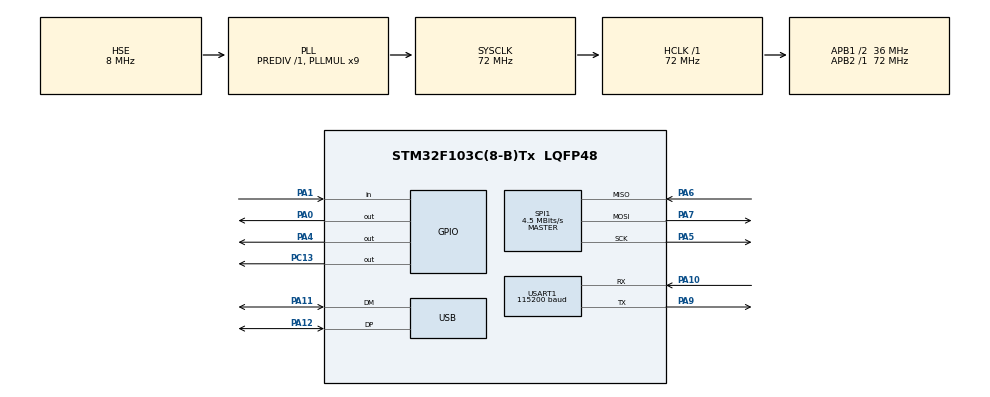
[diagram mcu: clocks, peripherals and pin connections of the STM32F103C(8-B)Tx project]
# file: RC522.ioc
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Mcu.Family=STM32F1
Mcu.Name=STM32F103C(8-B)Tx
Mcu.Package=LQFP48
NVIC.PriorityGroup=NVIC_PRIORITYGROUP_4
NVIC.USART1_IRQn=true\:0\:0\:false\:false\:true
NVIC.USB_LP_CAN1_RX0_IRQn=true\:0\:0\:false\:false\:true
PA0-WKUP.Signal=GPIO_Output
PA1.GPIO_PuPd=GPIO_PULLUP
PA1.Signal=GPIO_Input
PA10.Mode=Asynchronous
PA10.Signal=USART1_RX
PA11.Mode=Device
PA11.Signal=USB_DM
PA12.Mode=Device
PA12.Signal=USB_DP
PA13.Mode=Serial_Wire
PA13.Signal=SYS_JTMS-SWDIO
PA14.Mode=Serial_Wire
PA14.Signal=SYS_JTCK-SWCLK
PA4.Signal=GPIO_Output
PA5.Mode=Full_Duplex_Master
PA5.Signal=SPI1_SCK
PA6.Mode=Full_Duplex_Master
PA6.Signal=SPI1_MISO
PA7.Mode=Full_Duplex_Master
PA7.Signal=SPI1_MOSI
PA9.Mode=Asynchronous
PA9.Signal=USART1_TX
PC13-TAMPER-RTC.Signal=GPIO_Output
PD0-OSC_IN.Mode=HSE-External-Oscillator
PD0-OSC_IN.Signal=RCC_OSC_IN
PD1-OSC_OUT.Mode=HSE-External-Oscillator
PD1-OSC_OUT.Signal=RCC_OSC_OUT
ProjectManager.HeapSize=0x200
ProjectManager.StackSize=0x400
ProjectManager.TargetToolchain=MDK-ARM V5
RCC.AHBFreq_Value=72000000
RCC.APB1CLKDivider=RCC_HCLK_DIV2
RCC.APB1Freq_Value=36000000
RCC.APB1TimFreq_Value=72000000
RCC.APB2Freq_Value=72000000
RCC.APB2TimFreq_Value=72000000
RCC.HCLKFreq_Value=72000000
RCC.HSIState=RCC_HSI_ON
RCC.PLLMUL=RCC_PLL_MUL9
RCC.PLLSourceVirtual=RCC_PLLSOURCE_HSE
RCC.SYSCLKFreq_VALUE=72000000
RCC.SYSCLKSource=RCC_SYSCLKSOURCE_PLLCLK
RCC.USBFreq_Value=48000000
RCC.USBPrescaler=RCC_USBCLKSOURCE_PLL_DIV1_5
SPI1.BaudRatePrescaler=SPI_BAUDRATEPRESCALER_16
SPI1.CalculateBaudRate=4.5 MBits/s
SPI1.Mode=SPI_MODE_MASTER
USART1.BaudRate=115200
USB_DEVICE.CLASS_NAME_FS=CDC
USB_DEVICE.USBD_HandleTypeDef=hUsbDeviceFS
USB_DEVICE.VirtualMode=Cdc
USB_DEVICE.VirtualModeFS=Cdc_FS
VP_USB_DEVICE_VS_USB_DEVICE_CDC_FS.Mode=CDC_FS
board=RC522

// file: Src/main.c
/**
  ******************************************************************************
  * File Name          : main.c
  * Description        : Main program body
  ******************************************************************************
  *
  * COPYRIGHT(c) 2017 STMicroelectronics
  *
  * Redistribution and use in source and binary forms, with or without modification,
  * are permitted provided that the following conditions are met:
  *   1. Redistributions of source code must retain the above copyright notice,
  *      this list of conditions and the following disclaimer.
  *   2. Redistributions in binary form must reproduce the above copyright notice,
  *      this list of conditions and the following disclaimer in the documentation
  *      and/or other materials provided with the distribution.
  *   3. Neither the name of STMicroelectronics nor the names of its contributors
  *      may be used to endorse or promote products derived from this software
  *      without specific prior written permission.
  *
  * THIS SOFTWARE IS PROVIDED BY THE COPYRIGHT HOLDERS AND CONTRIBUTORS "AS IS"
  * AND ANY EXPRESS OR IMPLIED WARRANTIES, INCLUDING, BUT NOT LIMITED TO, THE
  * IMPLIED WARRANTIES OF MERCHANTABILITY AND FITNESS FOR A PARTICULAR PURPOSE ARE
  * DISCLAIMED. IN NO EVENT SHALL THE COPYRIGHT HOLDER OR CONTRIBUTORS BE LIABLE
  * FOR ANY DIRECT, INDIRECT, INCIDENTAL, SPECIAL, EXEMPLARY, OR CONSEQUENTIAL
  * DAMAGES (INCLUDING, BUT NOT LIMITED TO, PROCUREMENT OF SUBSTITUTE GOODS OR
  * SERVICES; LOSS OF USE, DATA, OR PROFITS; OR BUSINESS INTERRUPTION) HOWEVER
  * CAUSED AND ON ANY THEORY OF LIABILITY, WHETHER IN CONTRACT, STRICT LIABILITY,
  * OR TORT (INCLUDING NEGLIGENCE OR OTHERWISE) ARISING IN ANY WAY OUT OF THE USE
  * OF THIS SOFTWARE, EVEN IF ADVISED OF THE POSSIBILITY OF SUCH DAMAGE.
  *
  ******************************************************************************
  */
#include "stm32f1xx_hal.h"
#include "usb_device.h"

/* USER CODE BEGIN Includes */
#include "rc522.h"
/* USER CODE END Includes */

SPI_HandleTypeDef hspi1;

UART_HandleTypeDef huart1;

/* USER CODE BEGIN PV */
/* Private variables ---------------------------------------------------------*/
// Mifare RC522 RFID Card reader 13.56 MHz
// STM32F103 RFID RC522 SPI1 / UART / USB / Keil HAL / 2017 vk.com/zz555

// PA0  - (OUT)	LED2
// PA1	- (IN)	BTN1
// PA4  - (OUT)	SPI1_NSS (Soft)
// PA5  - (OUT)	SPI1_SCK
// PA6  - (IN)	SPI1_MISO (Master In)
// PA7  - (OUT)	SPI1_MOSI (Master Out)
// PA9	- (OUT)	TX UART1 (RX-RS232)
// PA10	- (IN)	RX UART1 (TX-RS232)
// PA11 - (OUT) USB_DM
// PA12 - (OUT) USB_DP
// PA13 - (IN) 	SWDIO
// PA14 - (IN) 	SWDCLK
// PC13 - (OUT)	LED1

// MFRC522		STM32F103		DESCRIPTION
// CS (SDA)		PA4					SPI1_NSS	Chip select for SPI
// SCK				PA5					SPI1_SCK	Serial Clock for SPI
// MOSI				PA7 				SPI1_MOSI	Master In Slave Out for SPI
// MISO				PA6					SPI1_MISO	Master Out Slave In for SPI
// IRQ				-						Irq
// GND				GND					Ground
// RST				3.3V				Reset pin (3.3V)
// VCC				3.3V				3.3V power

uint8_t 	k;
uint8_t 	i;
uint8_t 	j;
uint8_t 	b;
uint8_t 	q;
uint8_t 	en;
uint8_t 	ok;
uint8_t 	comand;
uint8_t		text1[63] = "STM32F103 Mifare RC522 RFID Card reader 13.56 MHz for KEIL HAL\r";
uint8_t		text2[9] = "Card ID: ";
uint8_t		end[1] = "\r";
uint8_t		txBuffer[18] = "Card ID: 00000000\r";
uint8_t 	retstr[10];
uint8_t 	rxBuffer[8];
uint8_t		lastID[4];
uint8_t		memID[8] = "9C55A1B5";
uint8_t		str[MFRC522_MAX_LEN];																						// MFRC522_MAX_LEN = 16
//uint32_t 	num;
//uint8_t*	txNum = (unsigned char*)&num;
/* USER CODE END PV */

void SystemClock_Config(void);
void Error_Handler(void);
static void MX_GPIO_Init(void);
static void MX_SPI1_Init(void);
static void MX_USART1_UART_Init(void);

/* USER CODE BEGIN PFP */
/* Private function prototypes -----------------------------------------------*/
uint8_t CDC_Transmit_FS(uint8_t* Buf, uint16_t Len);

// RC522
uint8_t MFRC522_Check(uint8_t* id);
uint8_t MFRC522_Compare(uint8_t* CardID, uint8_t* CompareID);
void MFRC522_WriteRegister(uint8_t addr, uint8_t val);
uint8_t MFRC522_ReadRegister(uint8_t addr);
void MFRC522_SetBitMask(uint8_t reg, uint8_t mask);
void MFRC522_ClearBitMask(uint8_t reg, uint8_t mask);
uint8_t MFRC522_Request(uint8_t reqMode, uint8_t* TagType);
uint8_t MFRC522_ToCard(uint8_t command, uint8_t* sendData, uint8_t sendLen, uint8_t* backData, uint16_t* backLen);
uint8_t MFRC522_Anticoll(uint8_t* serNum);
void MFRC522_CalulateCRC(uint8_t* pIndata, uint8_t len, uint8_t* pOutData);
uint8_t MFRC522_SelectTag(uint8_t* serNum);
uint8_t MFRC522_Auth(uint8_t authMode, uint8_t BlockAddr, uint8_t* Sectorkey, uint8_t* serNum);
uint8_t MFRC522_Read(uint8_t blockAddr, uint8_t* recvData);
uint8_t MFRC522_Write(uint8_t blockAddr, uint8_t* writeData);
void MFRC522_Init(void);
void MFRC522_Reset(void);
void MFRC522_AntennaOn(void);
void MFRC522_AntennaOff(void);
void MFRC522_Halt(void);
/* USER CODE END PFP */

/* USER CODE BEGIN 0 */
// string hex to char number
uint8_t hex_to_char(uint8_t data) {
	uint8_t number;

	if (rxBuffer[data] < 58) number = (rxBuffer[data]-48)*16; else number = (rxBuffer[data]-55)*16;
	data++;
	if (rxBuffer[data] < 58) number = number+(rxBuffer[data]-48); else number = number+(rxBuffer[data]-55);
	return number;
}

// char number to string hex (FF) (Only big letters!)
void char_to_hex(uint8_t data) {
	uint8_t digits[] = {'0','1','2','3','4','5','6','7','8','9','A','B','C','D','E','F'};

	if (data < 16) {
		retstr[0] = '0';
		retstr[1] = digits[data];
	} else {
		retstr[0] = digits[(data & 0xF0)>>4];
		retstr[1] = digits[(data & 0x0F)];
	}
}

// Number to string (16 bit)
void StrTo() {
	uint32_t	number;
	uint32_t 	ret;

	number = 0;
	ret = 0;
	ret = retstr[0]-0x30;
	number = ret*1000000;
	ret = retstr[1]-0x30;
	number = number+ret*100000;
	ret = retstr[2]-0x30;
	number = number+ret*10000;
	ret = retstr[3]-0x30;
	number = number+ret*1000;
	ret = retstr[4]-0x30;
	number = number+ret*100;
	ret = retstr[5]-0x30;
	number = number+ret*10;
	ret = retstr[6]-0x30;
	number = number+ret;
}

// String to number (32 bit)
void ToStr(uint32_t number) {
	uint32_t i;

	i = number/1000000000;
	number = number-i*1000000000;
	retstr[0] = i+0x30;

	i=number/100000000;
	number=number-i*100000000;
	retstr[1] = i+0x30;

	i = number/10000000;
	number = number-i*10000000;
	retstr[2] = i+0x30;

	i = number/1000000;
	number = number-i*1000000;
	retstr[3] = i+0x30;

	i = number/100000;
	number = number-i*100000;
	retstr[4] = i+0x30;

	i = number/10000;
	number = number-i*10000;
	retstr[5] = i+0x30;

	i = number/1000;
	number = number-i*1000;
	retstr[6] = i+0x30;

	i = number/100;
	number = number-i*100;
	retstr[7] = i+0x30;

	i = number/10;
	number = number-i*10;
	retstr[8] = i+0x30;

	retstr[9] = number+0x30;
}

void led(uint8_t n) {
	for (uint8_t i=0; i<n; i++) {
		HAL_GPIO_WritePin(GPIOC, GPIO_PIN_13, GPIO_PIN_RESET);			          // LED1 ON
		HAL_Delay(100);
		HAL_GPIO_WritePin(GPIOC, GPIO_PIN_13, GPIO_PIN_SET);				          // LED1 OFF
		HAL_Delay(100);
	}
}
/* USER CODE END 0 */

int main(void)
{

  /* MCU Configuration----------------------------------------------------------*/

  /* Reset of all peripherals, Initializes the Flash interface and the Systick. */
  HAL_Init();

  /* Configure the system clock */
  SystemClock_Config();

  /* Initialize all configured peripherals */
  MX_GPIO_Init();
  MX_SPI1_Init();
  MX_USART1_UART_Init();
  MX_USB_DEVICE_Init();

  /* USER CODE BEGIN 2 */
	HAL_GPIO_WritePin(GPIOA, GPIO_PIN_0, GPIO_PIN_SET);			         				// LED2 ON
	HAL_Delay(10);
	HAL_GPIO_WritePin(GPIOA, GPIO_PIN_0, GPIO_PIN_RESET);				     				// LED2 OFF
	HAL_Delay(50);

	led(1);
	MFRC522_Init();
	led(1);
	HAL_UART_Transmit(&huart1, text1, 63, 100);
	CDC_Transmit_FS(text1, 63);
	led(1);
	HAL_UART_Receive_IT(&huart1,(uint8_t*)rxBuffer, 1);
  /* USER CODE END 2 */

  /* Infinite loop */
  while (1)
  {

  /* USER CODE BEGIN 3 */
		if (!MFRC522_Request(PICC_REQIDL, str)) {
			if (!MFRC522_Anticoll(str)) {
				j = 0;
				q = 0;
				b = 9;
				en = 1;

				for (i=0; i<4; i++) if (lastID[i] != str[i]) j = 1;								// Repeat test

				if (j && en) {
					q = 0;
					en = 0;
					for (i=0; i<4; i++) lastID[i] = str[i];
					//HAL_UART_Transmit(&huart1, text2, 9, 100);
					for (i=0; i<4; i++) {
						char_to_hex(str[i]);
						txBuffer[b] = retstr[0];
						b++;
						txBuffer[b] = retstr[1];
						b++;
						//ToStr(str[i]);
						//HAL_UART_Transmit(&huart1, retstr, 10, 100);
					}
					//HAL_UART_Transmit(&huart1, end, 1, 100);
					HAL_UART_Transmit(&huart1, txBuffer, 18, 100);
					CDC_Transmit_FS(txBuffer, 18);

					ok = 1;
					for (i=0; i<8; i++) if (txBuffer[9+i] != memID[i]) ok = 0;
					led(1);
				}

				led(1);
			}
		}

		if (ok == 1) {
			ok = 0;
			for (i=0; i<10; i++) {
				HAL_GPIO_WritePin(GPIOA, GPIO_PIN_0, GPIO_PIN_SET);			         	// LED2 ON
				HAL_Delay(50);
				HAL_GPIO_WritePin(GPIOA, GPIO_PIN_0, GPIO_PIN_RESET);				     	// LED2 OFF
				HAL_Delay(100);
			}
		}

		if (huart1.RxXferCount == 0) {
			led(1);
			comand = rxBuffer[0];
			if (comand == '1') {
				led(1);
				HAL_UART_Transmit(&huart1, txBuffer, 18, 100);
				CDC_Transmit_FS(txBuffer, 18);
			}
			HAL_UART_Receive_IT(&huart1, (uint8_t*)rxBuffer, 1);
		}

		if (HAL_GPIO_ReadPin(GPIOA, GPIO_PIN_1) == GPIO_PIN_RESET) {
			HAL_UART_Transmit(&huart1, txBuffer, 18, 100);
			CDC_Transmit_FS(txBuffer, 18);
			led(1);
			while (HAL_GPIO_ReadPin(GPIOA, GPIO_PIN_1) == GPIO_PIN_RESET);
			HAL_Delay(100);
		}

		q++;
		if (!q) {
			en = 1;																															// Delay against scan kode
			for (i=0; i<4; i++) lastID[i] = 0;																	// Delay reading the same card 3s
		}
		HAL_Delay(1);
  }
  /* USER CODE END 3 */

}

/** System Clock Configuration
*/
void SystemClock_Config(void)
{

  RCC_OscInitTypeDef RCC_OscInitStruct;
  RCC_ClkInitTypeDef RCC_ClkInitStruct;
  RCC_PeriphCLKInitTypeDef PeriphClkInit;

  RCC_OscInitStruct.OscillatorType = RCC_OSCILLATORTYPE_HSE;
  RCC_OscInitStruct.HSEState = RCC_HSE_ON;
  RCC_OscInitStruct.HSEPredivValue = RCC_HSE_PREDIV_DIV1;
  RCC_OscInitStruct.PLL.PLLState = RCC_PLL_ON;
  RCC_OscInitStruct.PLL.PLLSource = RCC_PLLSOURCE_HSE;
  RCC_OscInitStruct.PLL.PLLMUL = RCC_PLL_MUL9;
  if (HAL_RCC_OscConfig(&RCC_OscInitStruct) != HAL_OK)
  {
    Error_Handler();
  }

  RCC_ClkInitStruct.ClockType = RCC_CLOCKTYPE_HCLK|RCC_CLOCKTYPE_SYSCLK
                              |RCC_CLOCKTYPE_PCLK1|RCC_CLOCKTYPE_PCLK2;
  RCC_ClkInitStruct.SYSCLKSource = RCC_SYSCLKSOURCE_PLLCLK;
  RCC_ClkInitStruct.AHBCLKDivider = RCC_SYSCLK_DIV1;
  RCC_ClkInitStruct.APB1CLKDivider = RCC_HCLK_DIV2;
  RCC_ClkInitStruct.APB2CLKDivider = RCC_HCLK_DIV1;
  if (HAL_RCC_ClockConfig(&RCC_ClkInitStruct, FLASH_LATENCY_2) != HAL_OK)
  {
    Error_Handler();
  }

  PeriphClkInit.PeriphClockSelection = RCC_PERIPHCLK_USB;
  PeriphClkInit.UsbClockSelection = RCC_USBCLKSOURCE_PLL_DIV1_5;
  if (HAL_RCCEx_PeriphCLKConfig(&PeriphClkInit) != HAL_OK)
  {
    Error_Handler();
  }

  HAL_SYSTICK_Config(HAL_RCC_GetHCLKFreq()/1000);

  HAL_SYSTICK_CLKSourceConfig(SYSTICK_CLKSOURCE_HCLK);

  /* SysTick_IRQn interrupt configuration */
  HAL_NVIC_SetPriority(SysTick_IRQn, 0, 0);
}

/* SPI1 init function */
static void MX_SPI1_Init(void)
{

  hspi1.Instance = SPI1;
  hspi1.Init.Mode = SPI_MODE_MASTER;
  hspi1.Init.Direction = SPI_DIRECTION_2LINES;
  hspi1.Init.DataSize = SPI_DATASIZE_8BIT;
  hspi1.Init.CLKPolarity = SPI_POLARITY_LOW;
  hspi1.Init.CLKPhase = SPI_PHASE_1EDGE;
  hspi1.Init.NSS = SPI_NSS_SOFT;
  hspi1.Init.BaudRatePrescaler = SPI_BAUDRATEPRESCALER_16;
  hspi1.Init.FirstBit = SPI_FIRSTBIT_MSB;
  hspi1.Init.TIMode = SPI_TIMODE_DISABLE;
  hspi1.Init.CRCCalculation = SPI_CRCCALCULATION_DISABLE;
  hspi1.Init.CRCPolynomial = 10;
  if (HAL_SPI_Init(&hspi1) != HAL_OK)
  {
    Error_Handler();
  }

}

/* USART1 init function */
static void MX_USART1_UART_Init(void)
{

  huart1.Instance = USART1;
  huart1.Init.BaudRate = 115200;
  huart1.Init.WordLength = UART_WORDLENGTH_8B;
  huart1.Init.StopBits = UART_STOPBITS_1;
  huart1.Init.Parity = UART_PARITY_NONE;
  huart1.Init.Mode = UART_MODE_TX_RX;
  huart1.Init.HwFlowCtl = UART_HWCONTROL_NONE;
  huart1.Init.OverSampling = UART_OVERSAMPLING_16;
  if (HAL_UART_Init(&huart1) != HAL_OK)
  {
    Error_Handler();
  }

}

/** Configure pins as
        * Analog
        * Input
        * Output
        * EVENT_OUT
        * EXTI
*/
static void MX_GPIO_Init(void)
{

  GPIO_InitTypeDef GPIO_InitStruct;

  /* GPIO Ports Clock Enable */
  __HAL_RCC_GPIOC_CLK_ENABLE();
  __HAL_RCC_GPIOD_CLK_ENABLE();
  __HAL_RCC_GPIOA_CLK_ENABLE();

  /*Configure GPIO pin Output Level */
  HAL_GPIO_WritePin(GPIOC, GPIO_PIN_13, GPIO_PIN_RESET);

  /*Configure GPIO pin Output Level */
  HAL_GPIO_WritePin(GPIOA, GPIO_PIN_0|GPIO_PIN_4, GPIO_PIN_RESET);

  /*Configure GPIO pin : PC13 */
  GPIO_InitStruct.Pin = GPIO_PIN_13;
  GPIO_InitStruct.Mode = GPIO_MODE_OUTPUT_PP;
  GPIO_InitStruct.Speed = GPIO_SPEED_FREQ_LOW;
  HAL_GPIO_Init(GPIOC, &GPIO_InitStruct);

  /*Configure GPIO pins : PA0 PA4 */
  GPIO_InitStruct.Pin = GPIO_PIN_0|GPIO_PIN_4;
  GPIO_InitStruct.Mode = GPIO_MODE_OUTPUT_PP;
  GPIO_InitStruct.Speed = GPIO_SPEED_FREQ_LOW;
  HAL_GPIO_Init(GPIOA, &GPIO_InitStruct);

  /*Configure GPIO pin : PA1 */
  GPIO_InitStruct.Pin = GPIO_PIN_1;
  GPIO_InitStruct.Mode = GPIO_MODE_INPUT;
  GPIO_InitStruct.Pull = GPIO_PULLUP;
  HAL_GPIO_Init(GPIOA, &GPIO_InitStruct);

}

void Error_Handler(void)
{
  while(1)
  {
  }
}

/************************ (C) COPYRIGHT STMicroelectronics *****END OF FILE****/
